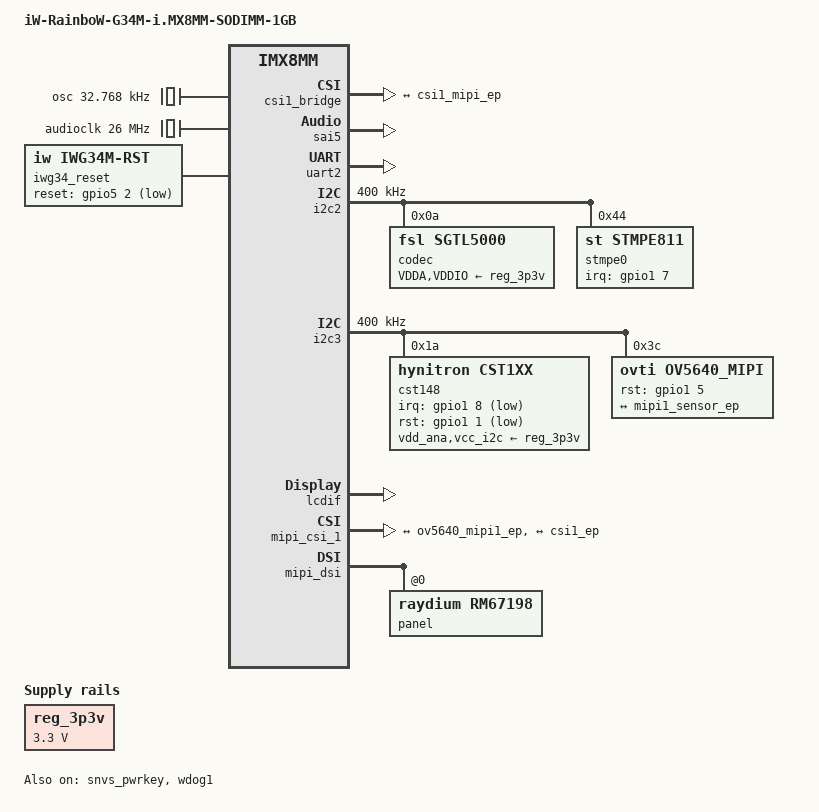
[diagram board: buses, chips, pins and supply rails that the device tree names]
// SPDX-License-Identifier: (GPL-2.0+ OR MIT)
/*
 * Copyright (C) 2020 iWave System Technologies Pvt Ltd.
 */

/dts-v1/;

#include "imx8mm-iwg34m.dts"

/ {
	model = "iW-RainboW-G34M-i.MX8MM-SODIMM-1GB";
	compatible = "fsl,imx8mm-iwg34m", "fsl,imx8mm";


	/* external oscillator node */
	osc: oscillator {
		compatible = "fixed-clock";
		#clock-cells = <1>;
		clock-frequency  = <32768>;
		clock-output-names = "osc";
	};

	audioclk: ext26Mz { /* SAI5: Clock Configuration */
		compatible = "fixed-clock";
		clock-frequency = <26000000>;
		#clock-cells = <0>;
	};

	expansion_gpios: expansion_gpios { /* GPIO: Setting Expansion GPIOs as input pins */
		compatible = "iwave,unused-gpios";
		pinctrl-names = "default";
		pinctrl-0 = <&pinctrl_expansion_gpio>;
		status = "okay";              
	};

	reg_3p3v: 3p3v { /* Fixed Regulator: common 3.3V Fixed regulator */
		compatible = "regulator-fixed";
		regulator-name = "3P3V";
		regulator-min-microvolt = <3300000>;
		regulator-max-microvolt = <3300000>;
		regulator-always-on;
	};

	sound { /* SAI5: SGTL5000: Audio Codec support */
		compatible = "fsl,imx-audio-sgtl5000";
		model = "sgtl5000-audio";
		ssi-controller = <&sai5>;
		audio-codec = <&codec>;
		audio-routing = "MIC_IN", "Mic Jack",
						"Mic Jack", "Mic Bias",
						"Headphone Jack", "HP_OUT",
						"LINE_IN", "Line In Jack";
	};

	carrier_revision {
                compatible = "carrier_revision";
                pinctrl-names = "default";
                a = <0x00>;
                status = "okay";
        };

	iwg34_reset {
		compatible = "iw,iwg34m-rst";
		pinctrl-names = "default";
                pinctrl-0 = <&pinctrl_carrier_reset>;
		reset-gpio = <&gpio5 2 1>;
		status = "okay";	
	};
};


&csi1_bridge {
	fsl,mipi-mode;
	status = "okay";
	port {
		csi1_ep: endpoint {
			remote-endpoint = <&csi1_mipi_ep>;
		};
	};
};


&sai5 { /* SAI5: Serial Audio Interface for Audio Codec */
	pinctrl-names = "default";
	pinctrl-0 = <&pinctrl_sai5>;
	assigned-clocks = <&clk IMX8MM_CLK_SAI5>;
	assigned-clock-parents = <&clk IMX8MM_AUDIO_PLL1_OUT>;
	assigned-clock-rates = <49152000>;
	clocks = <&clk IMX8MM_CLK_SAI5_IPG>, <&clk IMX8MM_CLK_DUMMY>,
		<&clk IMX8MM_CLK_SAI5_ROOT>, <&clk IMX8MM_CLK_DUMMY>,
		<&clk IMX8MM_CLK_DUMMY>, <&clk IMX8MM_AUDIO_PLL1_OUT>,
		<&clk IMX8MM_AUDIO_PLL2_OUT>;
	clock-names = "bus", "mclk0", "mclk1", "mclk2", "mclk3", "pll8k", "pll11k";
	status = "okay";
};

&snvs_pwrkey {
	status = "okay";
};


&uart2 { /* UART2: Data UART */
	pinctrl-names = "default";
	pinctrl-0 = <&pinctrl_uart2>;
	fsl,uart-has-rtscts;
	status = "okay";
};



&wdog1 { /* Watchdog */
	pinctrl-names = "default";
	pinctrl-0 = <&pinctrl_wdog>;
	fsl,ext-reset-output;
	status = "okay";
};


&i2c2 { /* I2C: I2C2 Bus */
	clock-frequency = <400000>;
	pinctrl-names = "default";
	pinctrl-0 = <&pinctrl_i2c2>;
	status = "okay";

	codec: sgtl5000@a { /* Audio: SGTL5000 Audio Codec */
		compatible = "fsl,sgtl5000";
		reg = <0x0a>;
		clocks = <&audioclk 0>;
		VDDA-supply = <&reg_3p3v>;
		VDDIO-supply = <&reg_3p3v>;
		status = "okay";
	};

	stmpe0: stmpe811@44 { /* STMPE811: Carrier Board GPIO Expander */
                compatible = "st,stmpe811";
		#address-cells = <1>;
		#size-cells = <0>;
		reg = <0x44>;
		pinctrl-names = "default";
		pinctrl-0 = <&pinctrl_stmpe>;
		irq-gpio = <&gpio1 7 IRQ_TYPE_EDGE_RISING>;
	
		stmpe_gpio0: stmpe_gpio {
			compatible = "st,stmpe-gpio";
			#gpio-cells = <2>;
			gpio-controller;
		};
	};
};

&i2c3 { /* I2C: I2C3 Bus */
	clock-frequency = <400000>;
	pinctrl-names = "default";
	pinctrl-0 = <&pinctrl_i2c3>;
	status = "okay";

	cst148@1a { /* Touch: Hynitron Touch panel (1080p display) */
		compatible = "hynitron,cst1xx";
		reg = <0x1a>; 
		vdd_ana-supply = <&reg_3p3v>;
		vcc_i2c-supply = <&reg_3p3v>;
		hynitron,panel-coords = <0 1080 0 1920>;
		hynitron,display-coords = <0 1080 0 1920>;
		pinctrl-names = "default";
		pinctrl-0 = <&pinctrl_ts_active>;
		hynitron,irq-gpio = <&gpio1 8 GPIO_ACTIVE_LOW>;
		hynitron,rst-gpio = <&gpio1 1 GPIO_ACTIVE_LOW>;
		report_type = <1>;
		status = "okay";
	};

	ov5640_mipi: ov5640_mipi@3c { /* MIPI CSI: OV5640 Camera */
		compatible = "ovti,ov5640_mipi";
		reg = <0x3c>;
		status = "okay";
		pinctrl-names = "default";
		pinctrl-0 = <&pinctrl_csi_rst>;
		clocks = <&clk IMX8MM_CLK_CLKO1>;
		clock-names = "csi_mclk";
		assigned-clocks = <&clk IMX8MM_CLK_CLKO1>;
		assigned-clock-parents = <&clk IMX8MM_CLK_24M>;
		assigned-clock-rates = <24000000>;
		csi_id = <0>;
		rst-gpios = <&gpio1 5 GPIO_ACTIVE_HIGH>;
		mclk = <24000000>;
		mclk_source = <0>;
			port {
				ov5640_mipi1_ep: endpoint {
				remote-endpoint = <&mipi1_sensor_ep>;
			};
		};
	};
};

&iomuxc {
	pinctrl-names = "default";

	 imx8mm-iwg34m {

		pinctrl_csi_rst: csi_rst_grp { /* MIPI CSI: OV5640 Camera IOMUX Pin Configuration */
			fsl,pins = <
				MX8MM_IOMUXC_GPIO1_IO05_GPIO1_IO5		0x19 /* MIPI OV5640 Camera Reset GPIO */
			>;
		};

		pinctrl_i2c2: i2c2grp { /* I2C2: IOMUX Pin Configuration */
			fsl,pins = <
				MX8MM_IOMUXC_I2C2_SCL_I2C2_SCL			0x400001c3
				MX8MM_IOMUXC_I2C2_SDA_I2C2_SDA			0x400001c3
			>;
		};

		pinctrl_i2c3: i2c3grp { /* I2C3: IOMUX Pin Configuration */
			fsl,pins = <
				MX8MM_IOMUXC_I2C3_SCL_I2C3_SCL			0x400001c3
				MX8MM_IOMUXC_I2C3_SDA_I2C3_SDA			0x400001c3
			>;
		};

		pinctrl_ts_active: tsgrp { /* MIPI DSI: Touch: IOMUX Pin Configuration */
			fsl,pins = <
				MX8MM_IOMUXC_GPIO1_IO01_GPIO1_IO1		0x154 /* Touch Interface Reset GPIO */
				MX8MM_IOMUXC_GPIO1_IO08_GPIO1_IO8		0x41  /* Touch Interface Interrupt GPIO */
			>;
		};

		pinctrl_stmpe: stmpeirq { /* STMPE: IOMUX Pin Configuration */
                        fsl,pins = <
				MX8MM_IOMUXC_GPIO1_IO07_GPIO1_IO7		0x41
                        >;
                };

		pinctrl_sai5: sai5grp { /* SAI5: IOMUX Pin Configuration */
			fsl,pins = <
				MX8MM_IOMUXC_SAI5_MCLK_SAI5_MCLK		0xd6
				MX8MM_IOMUXC_SAI5_RXD2_SAI5_TX_BCLK		0xd6
				MX8MM_IOMUXC_SAI5_RXD1_SAI5_TX_SYNC		0xd6
				MX8MM_IOMUXC_SAI5_RXD3_SAI5_TX_DATA0		0xd6
				MX8MM_IOMUXC_SAI5_RXD0_SAI5_RX_DATA0    	0xd6
			>;
		};

		pinctrl_uart2: uart2grp { /* UART2: DATA UART: IOMUX Pin Configuration */
			fsl,pins = <
				MX8MM_IOMUXC_SAI3_TXC_UART2_TX			0x140
				MX8MM_IOMUXC_SAI3_TXFS_UART2_RX			0x140
				MX8MM_IOMUXC_SAI3_RXC_UART2_CTS_B		0x140
				MX8MM_IOMUXC_SAI3_RXD_UART2_RTS_B		0x140	
			>;
		};

		pinctrl_wlan: wlangrp { /* WiFi: IOMUX Pin Configuration */
			fsl,pins = <
				MX8MM_IOMUXC_SD1_DATA7_GPIO2_IO9		0x111 /* WIFI Host Wake GPIO */
			>;
		};
		
		pinctrl_carrier_reset: carrier_rst {
			fsl,pins = <
				MX8MM_IOMUXC_SAI3_MCLK_GPIO5_IO2                0x16
			>;	
		};

		pinctrl_expansion_gpio: expansion_gpiogrp{
			fsl,pins = <
				/* GPIO: Expansion connector GPIO IOMUX Pin Configuration */
				MX8MM_IOMUXC_GPIO1_IO06_GPIO1_IO6		0x41	
				MX8MM_IOMUXC_SAI5_RXFS_GPIO3_IO19		0x41
				MX8MM_IOMUXC_SAI5_RXC_GPIO3_IO20		0x41	
				MX8MM_IOMUXC_SAI1_RXC_GPIO4_IO1			0x41
				MX8MM_IOMUXC_SAI1_TXC_GPIO4_IO11		0x41       
			>;
		};

		pinctrl_wdog: wdoggrp { /* wdog0: IOMUX Pin Configuration */
			fsl,pins = <
				MX8MM_IOMUXC_GPIO1_IO02_WDOG1_WDOG_B		0xc6
			>;
		};
	};
};

&lcdif {
	status = "okay";
};

&mipi_csi_1 { /* MIPI CSI: OV5640 MIPI Camera */
	#address-cells = <1>;
	#size-cells = <0>;
	status = "okay";
	port {
		mipi1_sensor_ep: endpoint@1 {
			remote-endpoint = <&ov5640_mipi1_ep>;
			data-lanes = <2>;
			csis-hs-settle = <13>;
			csis-clk-settle = <2>;
			csis-wclk;
		};

		csi1_mipi_ep: endpoint@2 {
			remote-endpoint = <&csi1_ep>;
		};
	};
};

&mipi_dsi { /* MIPI DSI: 1080p MIPI Display */
	status = "okay";

	panel@0 {
		compatible = "raydium,rm67198";
		reg = <0>;
		dsi-lanes = <4>;
		video-mode = <1>;	/* 0: burst mode
					 * 1: non-burst mode with sync event
					 * 2: non-burst mode with sync pulse
					 */
		panel-width-mm = <68>;
		panel-height-mm = <122>;
		status = "okay";
	};
};
